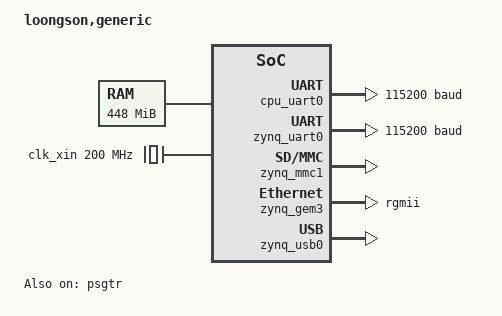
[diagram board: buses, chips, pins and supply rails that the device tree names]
// SPDX-License-Identifier: GPL-2.0
/dts-v1/;

/ {
	model = "loongson,generic";
	compatible = "loongson,loongson3";
	#address-cells = <1>;
	#size-cells = <1>;

	aliases {
		serial0 = &zynq_uart0;
        mmc0 = &zynq_mmc1;
		ethernet0 = &zynq_gem3;
	};

	chosen {
		stdout-path = "serial0:115200n8";
		bootargs = "earlycon";
	};

	memory {
		name = "memory";
		device_type = "memory";
		reg = <0x00000000  0x1bffffff>; // 448M
	};

	socclk: socclk {
		compatible = "fixed-clock";
		clock-frequency = <100000000>;
		#clock-cells = <0>;
	};

	cpuic: interrupt-controller {
		compatible = "loongson,cpu-interrupt-controller";
		interrupt-controller;
		#interrupt-cells = <1>;
	};

	clk100: clk100 {
		compatible = "fixed-clock";
        #clock-cells = <0>;
		clock-frequency = <100000000>;
	};
	clk_xin: clk_xin {
		compatible = "fixed-clock";
		#clock-cells = <0>;
		clock-frequency = <200000000>;
	};

	clk_gem: clk_gem {
		compatible = "fixed-clock";
        #clock-cells = <0>;
		clock-frequency = <125000000>;
	};
	clk_gem_tsu: clk_gem_tsu {
		compatible = "fixed-clock";
        #clock-cells = <0>;
		clock-frequency = <250000000>;
	};
	aud_clk: aud_clk {
		compatible = "fixed-clock";
		#clock-cells = <0>;
		clock-frequency = <25000000>;
	};
	video_clk: video_clk {
		compatible = "fixed-clock";
		#clock-cells = <0>;
		clock-frequency = <300000000>;
	};
	clk_gtr_sata: clk_gtr_sata {
		compatible = "fixed-clock";
		#clock-cells = <0>;
		clock-frequency = <125000000>;
	};
	clk_gtr_usb: clk_gtr_usb {
		compatible = "fixed-clock";
		#clock-cells = <0>;
		clock-frequency = <26000000>;
	};
	clk_gtr_dp: clk_gtr_dp {
		compatible = "fixed-clock";
		#clock-cells = <0>;
		clock-frequency = <27000000>;
	};

	soc {
		compatible = "simple-bus";
		#address-cells = <1>;
		#size-cells = <1>;
		ranges = <0x10000000 0x10000000 0x10000000>;

		psgtr: phy@1e400000 {
			compatible = "xlnx,zynqmp-psgtr-v1.1";
			reg = <0x1e400000 0x40000>,
			      <0x1e3d0000 0x1000>;
			status = "okay";
			reg-names = "serdes", "siou";
			clocks = <&clk_gtr_sata>, <&clk_gtr_usb>, <&clk_gtr_dp>;
			clock-names = "ref1", "ref2", "ref3";
			#phy-cells = <4>;
		};

		axi_intc_ps: interrupt-controller@1d800000 {
                #interrupt-cells = <1>;
                compatible = "xlnx,xps-intc-1.00.a";
                interrupt-controller;
                interrupt-parent = <&cpuic>;
                interrupts = <8>;
                reg = <0x1d800000 0x1000>;
                xlnx,kind-of-intr = <0x1>;
                xlnx,num-intr-inputs = <0xe>;
        };

		cpu_uart0: serial@0x1d010000 {
		    device_type = "serial";
		    compatible = "ns16550a";
		    reg = <0x1d010000 0x1000>;
            clock-frequency = <100000000>;
		    reg-offset = <0x0000>;
		    reg-io-width = <1>;
		    reg-shift = <0>;
		    current-speed = <115200>;
            interrupt-parent = <&cpuic>;
		    interrupts = <6>;
        };

		zynq_uart0: serial@0x1f000000 {
			compatible = "cdns,uart-r1p12";
			interrupt-parent = <&axi_intc_ps>;
			interrupts = <2>;
    		reg = <0x1f000000 0x1000>;
    		clock-names = "uart_clk", "pclk";
			clocks = <&clk100 &clk100>;
        	current-speed = <115200>;
		};
	
		zynq_mmc1: mmc@1f170000 {
			compatible = "arasan,sdhci-8.9a";
			interrupt-parent = <&axi_intc_ps>;
			interrupts = <3>;
			reg = <0x1f170000 0x1000>;
			clock-names = "clk_xin", "clk_ahb";
			clocks = <&clk_xin &clk_xin>;
			clock-output-names = "clk_out_sd1", "clk_in_sd1";
			#clock-cells = <1>;
          	clk-phase-sd-hs = <63>, <72>;
		};
		
		zynq_gem3: ethernet@1f0e0000 {
			compatible = "cdns,zynqmp-gem", "cdns,gem";
			interrupt-parent = <&axi_intc_ps>;
			interrupts = <0>, <0>;
			reg = <0x1f0e0000 0x1000>;
			clock-names = "pclk", "hclk", "tx_clk", "rx_clk", "tsu_clk";
			clocks = <&clk_xin &clk_xin &clk_gem &clk_gem &clk_gem_tsu>;
			phy-mode = "rgmii";
			mac-address = [ 00 50 C2 1D 3A 93 ];
			#address-cells = <1>;
			#size-cells = <0>;
		};

		zynq_usb0: usb0@1f9d0000 {
			#address-cells = <1>;
			#size-cells = <1>;
			status = "okay";
			compatible = "xlnx,zynqmp-dwc3";
			reg = <0x1f9d0000 0x100>;
			clock-names = "bus_clk", "ref_clk";
			clocks = <&clk_xin &clk_gtr_usb>;
			dwc3@1e200000 {
				compatible = "snps,dwc3";
				reg = <0x1e200000 0x40000>;
				interrupt-parent = <&axi_intc_ps>;
				interrupt-names = "dwc_usb3";
				interrupts = <9>;
				phys = <&psgtr 1 4 0 1>;
				phy-names = "usb3-phy";
				dr_mode = "host";
			};
		};

		zynqmp_dpdma: dma-controller@1e4c0000 {
			compatible = "xlnx,zynqmp-dpdma";
			reg = <0x1e4c0000 0x1000>;
			interrupt-parent = <&axi_intc_ps>;
			interrupts = <13>;
			clock-names = "axi_clk";
			clocks = <&clk_xin>;
			// power-domains = <&zynqmp_firmware PD_DP>;
			#dma-cells = <1>;
		};

		zynqmp_dpsub: display@1e4a0000 {
			compatible = "xlnx,zynqmp-dpsub-1.7";
			reg = <0x1e4a0000 0x1000>,
			      <0x1e4aa000 0x1000>,
			      <0x1e4ab000 0x1000>,
			      <0x1e4ac000 0x1000>;
			status = "disable";
			reg-names = "dp", "blend", "av_buf", "aud";
			interrupt-parent = <&axi_intc_ps>;
			interrupts = <8>;
			clock-names = "dp_apb_clk", "dp_aud_clk",
				      "dp_vtc_pixel_clk_in";
			clocks = <&clk100>, <&aud_clk>, <&video_clk>;
			// power-domains = <&zynqmp_firmware PD_DP>;
			// resets = <&zynqmp_reset ZYNQMP_RESET_DP>;
			phys =  <&psgtr 3 6 0 2>,
	                <&psgtr 2 6 1 2>;
			phy-names = "dp-phy0", "dp-phy1";

        	dma-names = "vid0", "vid1", "vid2", "gfx0";
        	dmas = <&zynqmp_dpdma 0>,
                   <&zynqmp_dpdma 1>,
                   <&zynqmp_dpdma 2>,
                   <&zynqmp_dpdma 3>;

			// vid-layer {
			// 	dma-names = "vid0", "vid1", "vid2";
			// 	dmas = <&zynqmp_dpdma 0>,
			// 		<&zynqmp_dpdma 1>,
			// 		<&zynqmp_dpdma 2>;
			// };
			// gfx-layer {
			// 	dma-names = "gfx0";
			// 	dmas = <&zynqmp_dpdma 3>;
			// };
		};
	};
};

